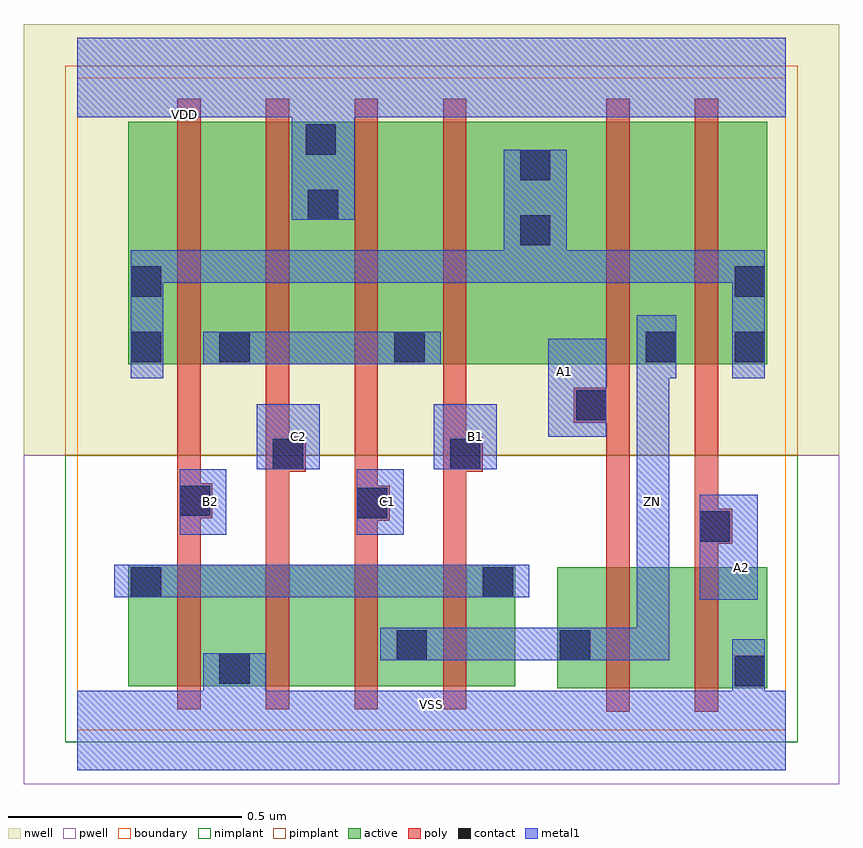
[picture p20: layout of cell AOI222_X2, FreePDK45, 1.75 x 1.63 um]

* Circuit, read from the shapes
.subckt AOI222_X2 A1 A2 B1 B2 C1 C2 VDD VSS ZN
M1 VSS B2 n1 VSUBS nfet w=0.26u l=0.05u
M2 n2 C2 VSS VSUBS nfet w=0.26u l=0.05u
M3 ZN C1 n2 VSUBS nfet w=0.26u l=0.05u
M4 n1 B1 ZN VSUBS nfet w=0.26u l=0.05u
M5 n3 A1 ZN VSUBS nfet w=0.26u l=0.05u
M6 VSS A2 n3 VSUBS nfet w=0.26u l=0.05u
M7 n4 B2 n5 n6 pfet w=0.52u l=0.05u
M8 VDD C2 n4 n6 pfet w=0.52u l=0.05u
M9 n4 C1 VDD n6 pfet w=0.52u l=0.05u
M10 n5 B1 n4 n6 pfet w=0.52u l=0.05u
M11 ZN A1 n5 n6 pfet w=0.52u l=0.05u
M12 n5 A2 ZN n6 pfet w=0.52u l=0.05u
.ends

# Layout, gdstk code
import gdstk
lib = gdstk.Library(unit=1e-6, precision=1e-10)
def R(c, l, rs):  # rectangles x0, y0, x1, y1
    for r in rs: c.add(gdstk.rectangle(r[:2], r[2:], *l))
def P(c, l, *ps):  # polygons
    for p in ps: c.add(gdstk.Polygon(p, *l))
active = (1, 0)
pwell = (2, 0)
nwell = (3, 0)
nimplant = (4, 0)
pimplant = (5, 0)
poly = (9, 0)
contact = (10, 0)
metal1 = (11, 0)
boundary = (235, 0)

aoi222_x2 = lib.new_cell('AOI222_X2')
R(aoi222_x2, active, [(1.03,0.09,1.48,0.35), (0.11,0.095,0.94,0.355), (0.11,0.785,1.48,1.305)])
R(aoi222_x2, pwell, [(-0.115,-0.115,1.635,0.59)])
R(aoi222_x2, nwell, [(-0.115,0.59,1.635,1.515)])
R(aoi222_x2, nimplant, [(-0.025,-0.025,1.545,0.59)])
R(aoi222_x2, pimplant, [(-0.025,0.59,1.545,1.425)])
P(aoi222_x2, poly, [(0.215,0.045),(0.265,0.045),(0.265,0.455),(0.29,0.455),(0.29,0.53),(0.265,0.53),(0.265,1.355),(0.215,1.355)],
  [(0.405,0.045),(0.455,0.045),(0.455,0.555),(0.49,0.555),(0.49,0.63),(0.455,0.63),(0.455,1.355),(0.405,1.355)],
  [(0.595,0.045),(0.645,0.045),(0.645,0.45),(0.67,0.45),(0.67,0.525),(0.645,0.525),(0.645,1.355),(0.595,1.355)],
  [(0.785,0.045),(0.835,0.045),(0.835,0.555),(0.87,0.555),(0.87,0.63),(0.835,0.63),(0.835,1.355),(0.785,1.355)],
  [(1.065,0.66),(1.135,0.66),(1.135,0.04),(1.185,0.04),(1.185,1.355),(1.135,1.355),(1.135,0.735),(1.065,0.735)],
  [(1.325,0.04),(1.375,0.04),(1.375,0.4),(1.405,0.4),(1.405,0.475),(1.375,0.475),(1.375,1.355),(1.325,1.355)])
R(aoi222_x2, contact, [(1.41,0.095,1.475,0.16), (0.305,0.1,0.37,0.165), (0.685,0.15,0.75,0.215), (1.035,0.15,1.1,0.215), (0.115,0.285,0.18,0.35), (0.87,0.285,0.935,0.35), (1.335,0.405,1.4,0.47), (0.6,0.455,0.665,0.52), (0.22,0.46,0.285,0.525), (0.42,0.56,0.485,0.625), (0.8,0.56,0.865,0.625), (1.07,0.665,1.135,0.73), (0.115,0.79,0.18,0.855), (0.305,0.79,0.37,0.855), (0.68,0.79,0.745,0.855), (1.22,0.79,1.285,0.855), (1.41,0.79,1.475,0.855), (0.115,0.93,0.18,0.995), (1.41,0.93,1.475,0.995), (0.95,1.04,1.015,1.105), (0.495,1.095,0.56,1.16), (0.95,1.18,1.015,1.245), (0.49,1.235,0.555,1.3)])
R(aoi222_x2, metal1, [(1.335,0.28,1.46,0.505), (0.08,0.285,0.97,0.355), (0.22,0.42,0.32,0.56), (0.6,0.42,0.7,0.56), (0.385,0.56,0.52,0.7), (0.765,0.56,0.9,0.7), (1.01,0.63,1.135,0.84), (0.27,0.785,0.78,0.855)])
P(aoi222_x2, metal1, [(0.65,0.15),(1.27,0.15),(1.27,0.755),(1.285,0.755),(1.285,0.89),(1.2,0.89),(1.2,0.22),(0.65,0.22)],
  [(0.115,0.755),(0.185,0.755),(0.185,0.96),(1.405,0.96),(1.405,0.755),(1.475,0.755),(1.475,1.03),(1.05,1.03),(1.05,1.245),(0.915,1.245),(0.915,1.03),(0.115,1.03)],
  [(0,-0.085),(1.52,-0.085),(1.52,0.085),(1.475,0.085),(1.475,0.195),(1.405,0.195),(1.405,0.085),(0.405,0.085),(0.405,0.165),(0.27,0.165),(0.27,0.085),(0,0.085)],
  [(0,1.315),(0.46,1.315),(0.46,1.095),(0.595,1.095),(0.595,1.315),(1.52,1.315),(1.52,1.485),(0,1.485)])
R(aoi222_x2, boundary, [(0,0,1.52,1.4)])
aoi222_x2.add(gdstk.Label('A1', (1.045,0.77), layer=11, texttype=0))
aoi222_x2.add(gdstk.Label('A2', (1.425,0.35), layer=11, texttype=0))
aoi222_x2.add(gdstk.Label('B1', (0.855,0.63), layer=11, texttype=0))
aoi222_x2.add(gdstk.Label('B2', (0.285,0.49), layer=11, texttype=0))
aoi222_x2.add(gdstk.Label('C1', (0.665,0.49), layer=11, texttype=0))
aoi222_x2.add(gdstk.Label('C2', (0.475,0.63), layer=11, texttype=0))
aoi222_x2.add(gdstk.Label('VDD', (0.23,1.32), layer=11, texttype=0))
aoi222_x2.add(gdstk.Label('VSS', (0.76,0.055), layer=11, texttype=0))
aoi222_x2.add(gdstk.Label('ZN', (1.235,0.49), layer=11, texttype=0))

lib.write_gds('AOI222_X2.gds')
